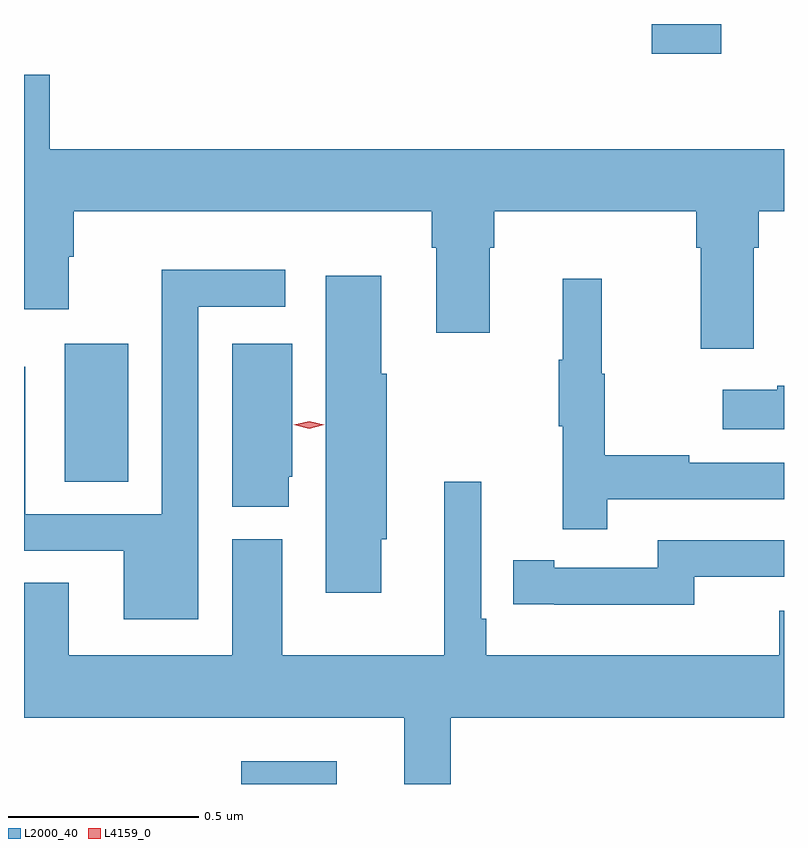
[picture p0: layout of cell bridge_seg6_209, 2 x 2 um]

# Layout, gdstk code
import gdstk
lib = gdstk.Library(unit=1e-6, precision=1e-09)
def R(c, l, rs):  # rectangles x0, y0, x1, y1
    for r in rs: c.add(gdstk.rectangle(r[:2], r[2:], *l))
def P(c, l, *ps):  # polygons
    for p in ps: c.add(gdstk.Polygon(p, *l))
L2000_40 = (2000, 40)
L4159_0 = (4159, 0)

bridge_seg6_209 = lib.new_cell('bridge_seg6_209')
R(bridge_seg6_209, L2000_40, [(241.952,975.133,242.203,975.193), (241.487,975.928,241.654,976.291), (243.032,977.055,243.215,977.133)])
P(bridge_seg6_209, L2000_40, [(243.301,976.544),(243.314,976.544),(243.314,976.64),(243.38,976.64),(243.38,976.804),(241.448,976.804),(241.448,976.999),(241.38,976.999),(241.38,976.383),(241.498,976.383),(241.498,976.52),(241.511,976.52),(241.511,976.64),(242.453,976.64),(242.453,976.544),(242.465,976.544),(242.465,976.32),(242.605,976.32),(242.605,976.544),(242.618,976.544),(242.618,976.64),(243.149,976.64),(243.149,976.544),(243.161,976.544),(243.161,976.278),(243.301,976.278)],
  [(241.839,976.389),(242.068,976.389),(242.068,976.486),(241.743,976.486),(241.743,975.843),(241.383,975.843),(241.383,976.231),(241.38,976.231),(241.38,975.747),(241.643,975.747),(241.643,975.566),(241.839,975.566)],
  [(242.32,975.777),(242.335,975.777),(242.335,976.213),(242.32,976.213),(242.32,976.471),(242.174,976.471),(242.174,975.636),(242.32,975.636)],
  [(242.915,975.882),(243.38,975.882),(243.38,975.978),(243.131,975.978),(243.131,975.998),(242.908,975.998),(242.908,976.212),(242.9,976.212),(242.9,976.462),(242.798,976.462),(242.798,976.249),(242.787,976.249),(242.787,976.075),(242.798,976.075),(242.798,975.804),(242.915,975.804)],
  [(242.077,975.942),(242.086,975.942),(242.086,976.291),(241.928,976.291),(241.928,975.862),(242.077,975.862)],
  [(243.38,976.181),(243.362,976.181),(243.362,976.171),(243.219,976.171),(243.219,976.067),(243.38,976.067)],
  [(242.503,975.308),(243.38,975.308),(243.38,975.589),(243.368,975.589),(243.368,975.472),(242.597,975.472),(242.597,975.568),(242.583,975.568),(242.583,975.928),(242.486,975.928),(242.486,975.472),(242.059,975.472),(242.059,975.777),(241.928,975.777),(241.928,975.472),(241.498,975.472),(241.498,975.662),(241.38,975.662),(241.38,975.308),(242.381,975.308),(242.381,975.133),(242.503,975.133)],
  [(243.144,975.678),(243.38,975.678),(243.38,975.774),(243.048,975.774),(243.048,975.702),(242.776,975.702),(242.776,975.722),(242.668,975.722),(242.668,975.606),(242.776,975.606),(242.776,975.605),(243.144,975.605)])
P(bridge_seg6_209, L4159_0, [(242.13,976.068),(242.09,976.078),(242.09,976.078),(242.09,976.078),(242.13,976.088),(242.17,976.078),(242.17,976.078),(242.17,976.078)])

lib.write_gds('bridge_seg6_209.gds')
